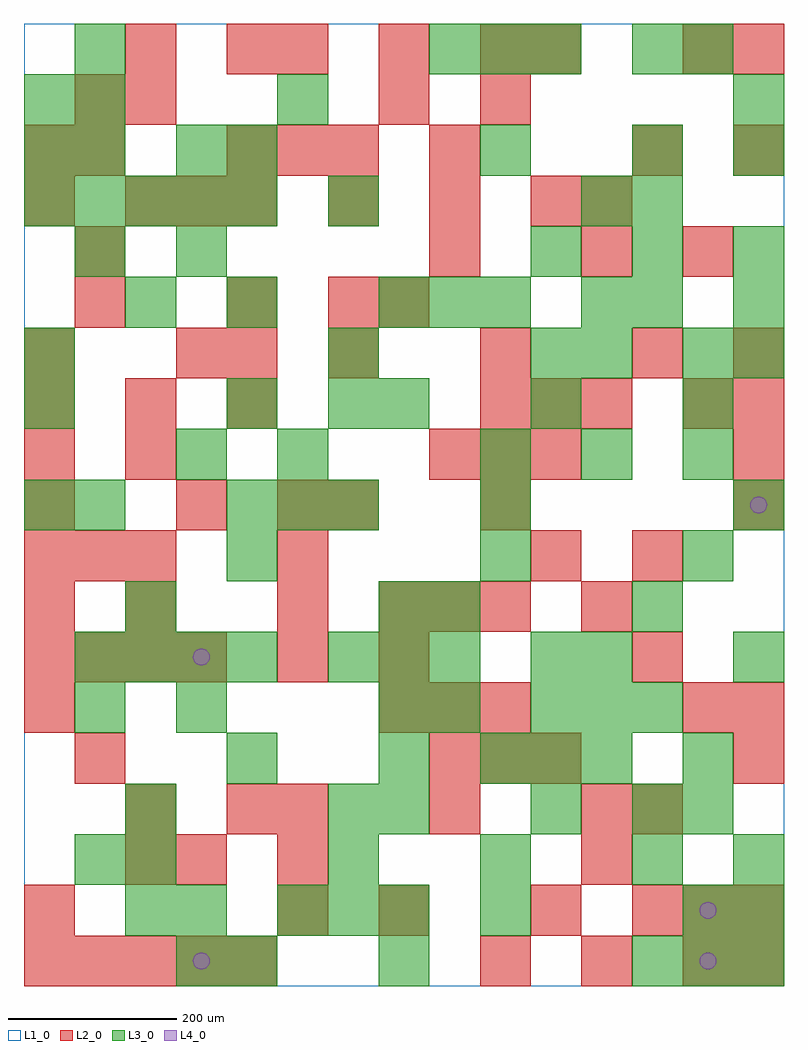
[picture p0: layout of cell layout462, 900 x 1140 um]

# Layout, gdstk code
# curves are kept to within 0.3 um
import gdstk
lib = gdstk.Library(unit=1e-6, precision=1e-09)
def R(c, l, rs):  # rectangles x0, y0, x1, y1
    for r in rs: c.add(gdstk.rectangle(r[:2], r[2:], *l))
def A(c, l, x, y, w, h, nx, ny, dx, dy):  # array of equal rectangles
    R(c, l, [(x+i*dx, y+j*dy, x+i*dx+w, y+j*dy+h) for i in range(nx) for j in range(ny)])
def P(c, l, *ps):  # polygons
    for p in ps: c.add(gdstk.Polygon(p, *l))
L1_0 = (1, 0)
L2_0 = (2, 0)
L3_0 = (3, 0)
L4_0 = (4, 0)

layout462 = lib.new_cell('layout462')
R(layout462, L1_0, [(0,0,900,1140)])
A(layout462, L2_0, 0, 0, 60, 60, 5, 1, 60, 0)
A(layout462, L2_0, 540, 0, 60, 60, 3, 1, 120, 0)
A(layout462, L2_0, 720, 60, 60, 60, 3, 1, 60, 0)
A(layout462, L2_0, 300, 180, 60, 60, 3, 1, 180, 0)
A(layout462, L2_0, 480, 240, 60, 60, 3, 2, 60, 360)
A(layout462, L2_0, 0, 300, 60, 60, 1, 3, 0, 120)
A(layout462, L2_0, 420, 300, 60, 60, 3, 2, 60, 120)
A(layout462, L2_0, 0, 360, 60, 60, 4, 1, 60, 0)
A(layout462, L2_0, 300, 360, 60, 60, 1, 4, 0, 60)
A(layout462, L2_0, 0, 480, 60, 60, 3, 1, 60, 0)
A(layout462, L2_0, 840, 540, 60, 60, 1, 4, 0, 60)
A(layout462, L2_0, 0, 660, 60, 60, 3, 1, 120, 0)
A(layout462, L2_0, 540, 660, 60, 60, 3, 1, 60, 0)
A(layout462, L2_0, 360, 720, 60, 60, 3, 1, 180, 0)
A(layout462, L2_0, 120, 900, 60, 60, 3, 1, 60, 0)
A(layout462, L2_0, 360, 900, 60, 60, 3, 1, 120, 0)
A(layout462, L2_0, 240, 960, 60, 60, 3, 1, 60, 0)
A(layout462, L2_0, 300, 1080, 60, 60, 3, 1, 120, 0)
R(layout462, L2_0, [(840,0,900,60), (0,60,60,120), (300,60,360,120), (420,60,480,120), (600,60,660,120), (120,120,180,180), (180,120,240,180), (300,120,360,180), (660,120,720,180), (120,180,180,240), (240,180,300,240), (720,180,780,240), (60,240,120,300), (840,240,900,300), (780,300,840,360), (840,300,900,360), (420,360,480,420), (720,360,780,420), (120,420,180,480), (660,420,720,480), (600,480,660,540), (720,480,780,540), (180,540,240,600), (360,540,420,600), (540,540,600,600), (0,600,60,660), (120,600,180,660), (780,660,840,720), (0,720,60,780), (180,720,240,780), (240,720,300,780), (60,780,120,840), (240,780,300,840), (360,780,420,840), (420,780,480,840), (60,840,120,900), (480,840,540,900), (660,840,720,900), (780,840,840,900), (0,900,60,960), (660,900,720,960), (0,960,60,1020), (60,960,120,1020), (480,960,540,1020), (720,960,780,1020), (840,960,900,1020), (60,1020,120,1080), (120,1020,180,1080), (420,1020,480,1080), (540,1020,600,1080), (120,1080,180,1140), (240,1080,300,1140), (600,1080,660,1140), (780,1080,840,1140), (840,1080,900,1140)])
A(layout462, L3_0, 240, 0, 60, 60, 1, 3, 0, 240)
A(layout462, L3_0, 720, 0, 60, 60, 3, 1, 60, 0)
A(layout462, L3_0, 120, 60, 60, 60, 1, 3, 0, 60)
A(layout462, L3_0, 300, 60, 60, 60, 3, 1, 60, 0)
A(layout462, L3_0, 360, 120, 60, 60, 3, 1, 180, 0)
A(layout462, L3_0, 420, 180, 60, 60, 1, 3, 0, 60)
A(layout462, L3_0, 540, 240, 60, 60, 3, 1, 60, 0)
A(layout462, L3_0, 780, 240, 60, 60, 1, 3, 0, 240)
A(layout462, L3_0, 600, 300, 60, 60, 3, 1, 60, 0)
A(layout462, L3_0, 60, 360, 60, 60, 4, 1, 60, 0)
A(layout462, L3_0, 360, 360, 60, 60, 3, 1, 60, 0)
A(layout462, L3_0, 840, 360, 60, 60, 1, 3, 0, 180)
A(layout462, L3_0, 240, 540, 60, 60, 3, 1, 60, 0)
A(layout462, L3_0, 540, 600, 60, 60, 3, 1, 120, 0)
A(layout462, L3_0, 420, 660, 60, 60, 3, 1, 180, 0)
A(layout462, L3_0, 420, 780, 60, 60, 3, 1, 60, 0)
A(layout462, L3_0, 600, 840, 60, 60, 3, 1, 120, 0)
A(layout462, L3_0, 0, 900, 60, 60, 5, 1, 60, 0)
A(layout462, L3_0, 60, 960, 60, 60, 1, 3, 0, 60)
A(layout462, L3_0, 480, 1080, 60, 60, 3, 1, 60, 0)
R(layout462, L3_0, [(180,0,240,60), (420,0,480,60), (180,60,240,120), (540,60,600,120), (780,60,840,120), (840,60,900,120), (60,120,120,180), (840,120,900,180), (360,180,420,240), (600,180,660,240), (720,180,780,240), (780,180,840,240), (60,300,120,360), (180,300,240,360), (480,300,540,360), (600,360,660,420), (660,360,720,420), (120,420,180,480), (420,420,480,480), (480,420,540,480), (720,420,780,480), (540,480,600,540), (0,540,60,600), (60,540,120,600), (540,540,600,600), (180,600,240,660), (300,600,360,660), (0,660,60,720), (240,660,300,720), (360,660,420,720), (0,720,60,780), (360,720,420,780), (600,720,660,780), (660,720,720,780), (120,780,180,840), (240,780,300,840), (660,780,720,840), (720,780,780,840), (840,780,900,840), (60,840,120,900), (180,840,240,900), (360,900,420,960), (660,900,720,960), (720,900,780,960), (0,960,60,1020), (180,960,240,1020), (240,960,300,1020), (540,960,600,1020), (720,960,780,1020), (840,960,900,1020), (0,1020,60,1080), (300,1020,360,1080), (840,1020,900,1080), (720,1080,780,1140), (780,1080,840,1140)])
P(layout462, L4_0, [(220,30),(219.239,33.827),(217.071,37.071),(213.827,39.239),(210,40),(206.173,39.239),(202.929,37.071),(200.761,33.827),(200,30),(200.761,26.173),(202.929,22.929),(206.173,20.761),(210,20),(213.827,20.761),(217.071,22.929),(219.239,26.173)],
  [(220,390),(219.239,393.827),(217.071,397.071),(213.827,399.239),(210,400),(206.173,399.239),(202.929,397.071),(200.761,393.827),(200,390),(200.761,386.173),(202.929,382.929),(206.173,380.761),(210,380),(213.827,380.761),(217.071,382.929),(219.239,386.173)],
  [(820,30),(819.239,33.827),(817.071,37.071),(813.827,39.239),(810,40),(806.173,39.239),(802.929,37.071),(800.761,33.827),(800,30),(800.761,26.173),(802.929,22.929),(806.173,20.761),(810,20),(813.827,20.761),(817.071,22.929),(819.239,26.173)],
  [(820,90),(819.239,93.827),(817.071,97.071),(813.827,99.239),(810,100),(806.173,99.239),(802.929,97.071),(800.761,93.827),(800,90),(800.761,86.173),(802.929,82.929),(806.173,80.761),(810,80),(813.827,80.761),(817.071,82.929),(819.239,86.173)],
  [(880,570),(879.239,573.827),(877.071,577.071),(873.827,579.239),(870,580),(866.173,579.239),(862.929,577.071),(860.761,573.827),(860,570),(860.761,566.173),(862.929,562.929),(866.173,560.761),(870,560),(873.827,560.761),(877.071,562.929),(879.239,566.173)])

lib.write_gds('layout462.gds')
